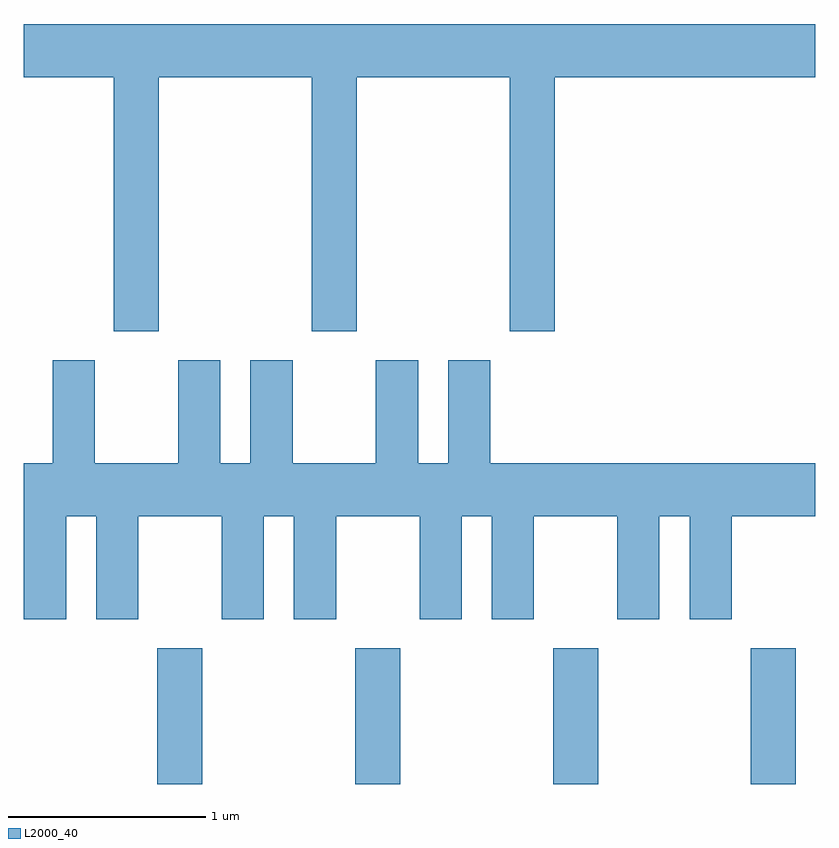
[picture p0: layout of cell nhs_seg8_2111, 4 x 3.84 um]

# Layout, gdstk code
import gdstk
lib = gdstk.Library(unit=1e-6, precision=1e-09)
def R(c, l, rs):  # rectangles x0, y0, x1, y1
    for r in rs: c.add(gdstk.rectangle(r[:2], r[2:], *l))
def A(c, l, x, y, w, h, nx, ny, dx, dy):  # array of equal rectangles
    R(c, l, [(x+i*dx, y+j*dy, x+i*dx+w, y+j*dy+h) for i in range(nx) for j in range(ny)])
def P(c, l, *ps):  # polygons
    for p in ps: c.add(gdstk.Polygon(p, *l))
L2000_40 = (2000, 40)

nhs_seg8_2111 = lib.new_cell('nhs_seg8_2111')
A(nhs_seg8_2111, L2000_40, 248.286, 1888.342, 0.228, 0.687, 4, 1, 1, 0)
P(nhs_seg8_2111, L2000_40, [(248.294,1891.916),(249.066,1891.916),(249.066,1890.631),(249.294,1890.631),(249.294,1891.916),(250.066,1891.916),(250.066,1890.631),(250.294,1890.631),(250.294,1891.916),(251.611,1891.916),(251.611,1892.184),(247.611,1892.184),(247.611,1891.916),(248.066,1891.916),(248.066,1890.631),(248.294,1890.631)],
  [(247.824,1889.696),(247.976,1889.696),(247.976,1889.176),(248.189,1889.176),(248.189,1889.696),(248.611,1889.696),(248.611,1889.176),(248.824,1889.176),(248.824,1889.696),(248.976,1889.696),(248.976,1889.176),(249.189,1889.176),(249.189,1889.696),(249.611,1889.696),(249.611,1889.176),(249.824,1889.176),(249.824,1889.696),(249.976,1889.696),(249.976,1889.176),(250.189,1889.176),(250.189,1889.696),(250.611,1889.696),(250.611,1889.176),(250.824,1889.176),(250.824,1889.696),(250.976,1889.696),(250.976,1889.176),(251.189,1889.176),(251.189,1889.696),(251.611,1889.696),(251.611,1889.964),(249.969,1889.964),(249.969,1890.484),(249.756,1890.484),(249.756,1889.964),(249.604,1889.964),(249.604,1890.484),(249.391,1890.484),(249.391,1889.964),(248.969,1889.964),(248.969,1890.484),(248.756,1890.484),(248.756,1889.964),(248.604,1889.964),(248.604,1890.484),(248.391,1890.484),(248.391,1889.964),(247.969,1889.964),(247.969,1890.484),(247.756,1890.484),(247.756,1889.964),(247.611,1889.964),(247.611,1889.176),(247.824,1889.176)])

lib.write_gds('nhs_seg8_2111.gds')
